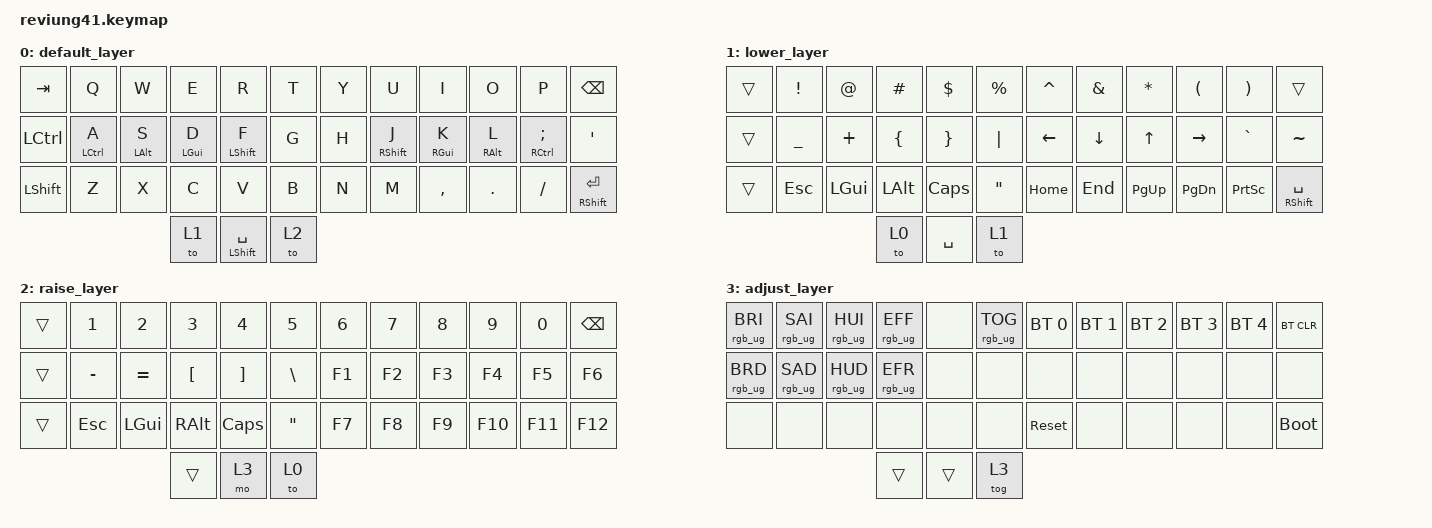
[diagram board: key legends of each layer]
/*
 * Copyright (c) 2020 The ZMK Contributors
 *
 * SPDX-License-Identifier: MIT
 */

#include <behaviors.dtsi>
#include <dt-bindings/zmk/bt.h>
#include <dt-bindings/zmk/keys.h>
#include <dt-bindings/zmk/rgb.h>

/ {
    behaviors {
        home_row_mods: home_row_mods {
            compatible = "zmk,behavior-hold-tap";
            label = "HOME_ROW_MODS";
            bindings = <&kp>, <&kp>;

            #binding-cells = <2>;
            hold-trigger-key-positions = <13 14 15 16 19 20 21 22>;
            tapping-term-ms = <300>;
            flavor = "tap-preferred";
        };
    };

    keymap {
        compatible = "zmk,keymap";

        default_layer {
            // -------------------------------------------------------------------------------------
            // |  TAB |  Q  |  W  |  E  |  R  |  T  |   |  Y  |  U   |  I  |  O  |  P  |   BSPC    |
            // | CTRL |  &mt LCTRL A | &mt LALT S  | &mt LGUI D  | &mt LSHIFT F  |  G  |   |  H  | &mt RSHIFT J |  &mt RGUI K  | &mt RALT L  |  &mt RCTRL ;  |    '      |
            // | SHFT |  Z  |  X  |  C  |  V  |  B  |   |  N  |  M   |  ,  |  .  |  /  | SHFT(RET) |
            //                         | ALT | SPC | RGB 

            bindings = <
&kp TAB    &kp Q                          &kp W                      &kp E                      &kp R                        &kp T         &kp Y  &kp U                         &kp I                       &kp O                       &kp P                                   &kp BSPC
&kp LCTRL  &home_row_mods LEFT_CONTROL A  &home_row_mods LEFT_ALT S  &home_row_mods LEFT_GUI D  &home_row_mods LEFT_SHIFT F  &kp G         &kp H  &home_row_mods RIGHT_SHIFT J  &home_row_mods RIGHT_GUI K  &home_row_mods RIGHT_ALT L  &home_row_mods RIGHT_CONTROL SEMICOLON  &kp SQT
&kp LSHFT  &kp Z                          &kp X                      &kp C                      &kp V                        &kp B         &kp N  &kp M                         &kp COMMA                   &kp DOT                     &kp FSLH                                &mt RSHFT RET
                                                                     &to 1                      &mt LEFT_SHIFT SPACE                &to 2
            >;
        };

        lower_layer {
            // ------------------------------------------------------------------------------------
            // |    |  !  |  @  |  #  |  $  |  %  |   |  ^  |  &  |  *  |  (  |  )  |      DEL    |
            // |    |  _  |  +  |  {  |  }  | "|" |   | LFT | DWN |  UP | RGT |  `  |       ~     |
            // |    | ESC | GUI | ALT | CAPS|  "  |   | HOME| END | PGUP| PGDN| PRSC| SHFT(SPACE) |
            //                       |     |     | RET | ADJ |     |

            bindings = <
&trans  &kp EXCL   &kp AT    &kp HASH  &kp DLLR   &kp PRCNT         &kp CARET  &kp AMPS  &kp ASTRK  &kp LPAR   &kp RPAR   &trans
&trans  &kp UNDER  &kp PLUS  &kp LBRC  &kp RBRC   &kp PIPE          &kp LEFT   &kp DOWN  &kp UP     &kp RIGHT  &kp GRAVE  &kp TILDE
&trans  &kp ESC    &kp LGUI  &kp LALT  &kp CLCK   &kp DQT           &kp HOME   &kp END   &kp PG_UP  &kp PG_DN  &kp PSCRN  &mt RSHFT SPACE
                             &to 0     &kp SPACE             &to 1
            >;
        };

        raise_layer {
            // ----------------------------------------------------------------------------
            // |    |  1  |  2  |  3  |  4  |  5  |   |  6  |  7  |  8  |  9  |  0  | DEL |
            // |    |  -  |  =  |  [  |  ]  |  \  |   | F1  | F2  | F3  | F4  | F5  | F6  |
            // |    | ESC | GUI | ALT | CAPS|  "  |   | F7  | F8  | F9  | F10 | F11 | F12 |
            //                       |     | ADJ | BSPC |    |     |

            bindings = <
&trans  &kp N1     &kp N2     &kp N3    &kp N4    &kp N5           &kp N6  &kp N7  &kp N8  &kp N9   &kp N0   &kp BACKSPACE
&trans  &kp MINUS  &kp EQUAL  &kp LBKT  &kp RBKT  &kp BSLH         &kp F1  &kp F2  &kp F3  &kp F4   &kp F5   &kp F6
&trans  &kp ESC    &kp LGUI   &kp RALT  &kp CLCK  &kp DQT          &kp F7  &kp F8  &kp F9  &kp F10  &kp F11  &kp F12
                              &trans    &mo 3               &to 0
            >;
        };

        adjust_layer {
            // -----------------------------------------------------------------------------------------
            // | RGB BRI+ | RGB SAT+ | RGB HUE+ | RGB ANI+ |    | RGB TOG |   |  BT1  | BT2 | BT3 | BT4 | BT5 | BT CLR |
            // | RGB BRI- | RGB SAT- | RGB HUE- | RGB ANI- |    |         |   |       |     |     |     |     |        |
            // |          |          |          |          |    |         |   | RESET |     |     |     |     |        |
            //                                              |     |     |     |     |     |

            bindings = <
&rgb_ug RGB_BRI  &rgb_ug RGB_SAI  &rgb_ug RGB_HUI  &rgb_ug RGB_EFF  &none   &rgb_ug RGB_TOG          &bt BT_SEL 0  &bt BT_SEL 1  &bt BT_SEL 2  &bt BT_SEL 3  &bt BT_SEL 4  &bt BT_CLR
&rgb_ug RGB_BRD  &rgb_ug RGB_SAD  &rgb_ug RGB_HUD  &rgb_ug RGB_EFR  &none   &none                    &none         &none         &none         &none         &none         &none
&none            &none            &none            &none            &none   &none                    &sys_reset    &none         &none         &none         &none         &bootloader
                                                   &trans           &trans                   &tog 3
            >;
        };
    };
};
